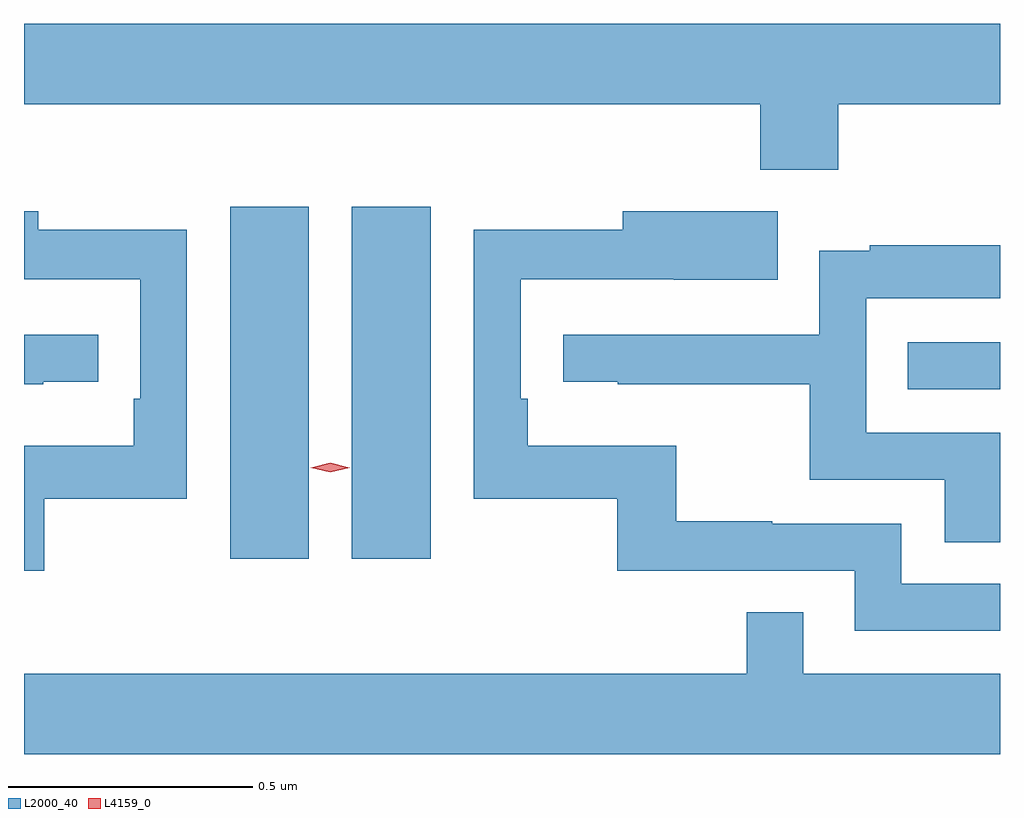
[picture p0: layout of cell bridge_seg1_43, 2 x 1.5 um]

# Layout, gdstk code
import gdstk
lib = gdstk.Library(unit=1e-6, precision=1e-09)
def R(c, l, rs):  # rectangles x0, y0, x1, y1
    for r in rs: c.add(gdstk.rectangle(r[:2], r[2:], *l))
def P(c, l, *ps):  # polygons
    for p in ps: c.add(gdstk.Polygon(p, *l))
L2000_40 = (2000, 40)
L4159_0 = (4159, 0)

bridge_seg1_43 = lib.new_cell('bridge_seg1_43')
R(bridge_seg1_43, L2000_40, [(939.665,546.804,939.826,547.525), (939.914,546.804,940.075,547.525), (941.053,547.152,941.242,547.248)])
P(bridge_seg1_43, L2000_40, [(940.911,547.736),(941.242,547.736),(941.242,547.9),(939.242,547.9),(939.242,547.736),(940.751,547.736),(940.751,547.601),(940.911,547.601)],
  [(941.242,546.753),(941.04,546.753),(941.04,546.876),(940.775,546.876),(940.775,546.881),(940.579,546.881),(940.579,547.036),(940.274,547.036),(940.274,547.132),(940.26,547.132),(940.26,547.377),(940.573,547.377),(940.573,547.376),(940.787,547.376),(940.787,547.516),(940.469,547.516),(940.469,547.478),(940.164,547.478),(940.164,546.927),(940.458,546.927),(940.458,546.78),(940.944,546.78),(940.944,546.657),(941.242,546.657)],
  [(939.283,546.927),(939.576,546.927),(939.576,547.478),(939.271,547.478),(939.271,547.516),(939.242,547.516),(939.242,547.377),(939.48,547.377),(939.48,547.132),(939.467,547.132),(939.467,547.036),(939.242,547.036),(939.242,546.78),(939.283,546.78)],
  [(941.242,547.062),(940.968,547.062),(940.968,547.338),(941.242,547.338),(941.242,547.447),(940.975,547.447),(940.975,547.435),(940.872,547.435),(940.872,547.263),(940.347,547.263),(940.347,547.167),(940.459,547.167),(940.459,547.162),(940.852,547.162),(940.852,546.966),(941.129,546.966),(941.129,546.838),(941.242,546.838)],
  [(939.281,547.167),(939.394,547.167),(939.394,547.263),(939.242,547.263),(939.242,547.162),(939.281,547.162)],
  [(941.242,546.568),(940.839,546.568),(940.839,546.695),(940.723,546.695),(940.723,546.568),(939.242,546.568),(939.242,546.404),(941.242,546.404)])
P(bridge_seg1_43, L4159_0, [(939.87,546.981),(939.83,546.991),(939.83,546.991),(939.83,546.991),(939.87,547.001),(939.91,546.991),(939.91,546.991),(939.91,546.991)])

lib.write_gds('bridge_seg1_43.gds')
